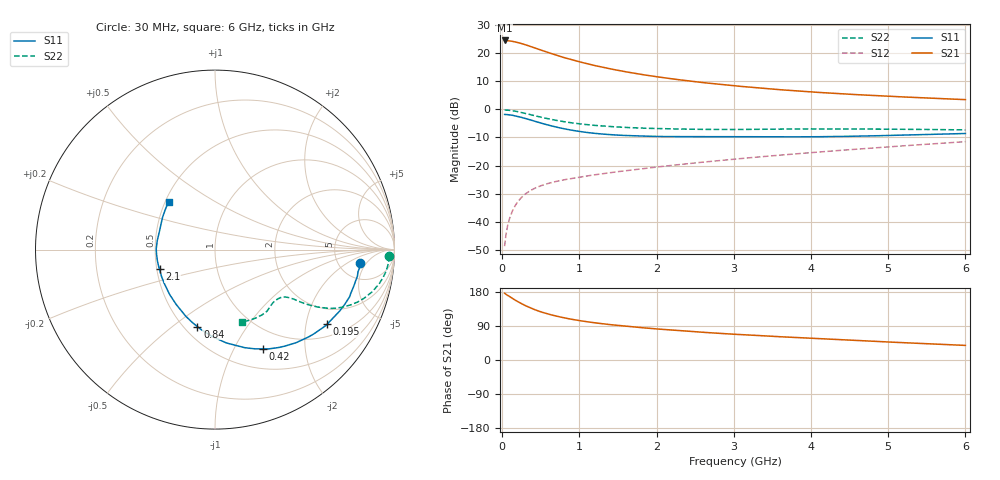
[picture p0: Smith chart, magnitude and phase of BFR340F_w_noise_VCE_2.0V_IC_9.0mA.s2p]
! Infineon Technologies  Discrete & RF Semiconductors
! BFR340F
! VCE =  2.0 V,  IC =  9.0 mA
! Common Emitter S-Parameters:  Nov 2015
# GHz  S  MA  R  50
!  f  S11  S21  S12  S22
! GHz  MAG  ANG  MAG  ANG  MAG  ANG  MAG  ANG
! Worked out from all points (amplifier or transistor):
!   206 points, 30 MHz to 6 GHz, reference 50 ohm
!   highest |S21| = 24.5 dB at 30 MHz (marker M1)
!   |S21| within 3 dB of that: start of sweep to 457 MHz
!   unconditionally stable (mu >= 1): 1.825 GHz to 5.221 GHz
!   at 200 MHz: K = 0.20, MSG = 28.3 dB, |S12| = -32.9 dB
!   at 1.56 GHz: K = 0.95, MSG = 17.7 dB, |S12| = -21.9 dB
!   at 6 GHz: K = 0.96, MSG = 7.5 dB, |S12| = -11.5 dB
!   lowest NFmin = 1.39 dB at 450 MHz
!   S11 on the Smith chart (normalised r, x): 30 MHz: 8.07, -3.46; 195 MHz: 1.39, -2.65; 420 MHz: 0.74, -1.31; 840 MHz: 0.58, -0.62; 2.1 GHz: 0.52, -0.13; 6 GHz: 0.52, +0.32
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0.03  0.8109 -5.2  16.74 176.2  0.0037 86.9  0.9717 -2.1
0.05  0.8063 -8.8  16.61 172.8  0.0062 87.4  0.9698 -3.9
0.09  0.7975 -16.2  16.5 168.0  0.011 82.4  0.9604 -7.1
0.15  0.7745 -26.2  15.96 160.1  0.0177 77.3  0.9354 -11.6
0.195  0.7507 -33.6  15.46 154.7  0.0222 73.9  0.9107 -14.6
0.26  0.7119 -43.3  14.61 147.5  0.0281 69.9  0.8708 -18.3
0.3  0.6876 -49.0  14.04 143.4  0.0315 67.6  0.8449 -20.3
0.36  0.6511 -56.9  13.18 137.9  0.0357 64.9  0.8063 -22.7
0.42  0.6149 -64.2  12.34 132.9  0.0395 62.7  0.7696 -24.8
0.5  0.5708 -73.2  11.31 127.0  0.0439 60.4  0.7242 -26.9
0.6  0.5237 -83.1  10.16 120.7  0.0484 58.5  0.6758 -28.6
0.7  0.4839 -92.0  9.16 115.6  0.0524 57.5  0.6353 -29.8
0.84  0.4404 -102.8  8.022 109.7  0.0572 56.9  0.5913 -30.8
1.04  0.3973 -116.2  6.768 102.8  0.0637 57.1  0.5451 -31.7
1.2  0.3739 -125.5  5.99 98.1  0.0687 57.7  0.518 -32.2
1.46  0.3504 -138.1  5.046 92.0  0.0768 59.1  0.4884 -33.1
2.02  0.3293 -158.1  3.761 81.7  0.095 62.2  0.455 -35.8
2.1  0.3282 -160.4  3.632 80.5  0.0976 62.6  0.4524 -36.3
3.1  0.3265 177.6  2.551 67.0  0.1338 66.2  0.439 -43.7
4.1  0.3259 161.5  1.997 56.3  0.1743 67.5  0.449 -50.8
5.1  0.3452 146.9  1.683 46.6  0.2198 67.4  0.4426 -59.9
6  0.3718 134.1  1.488 38.5  0.2664 66.0  0.4308 -69.3
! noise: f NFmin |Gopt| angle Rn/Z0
0.45  1.39  0.29  0  0.28
0.9  1.47  0.28  10  0.31
1.9  1.87  0.14  0  0.29
2.4  2.1  0.08  -1  0.3
